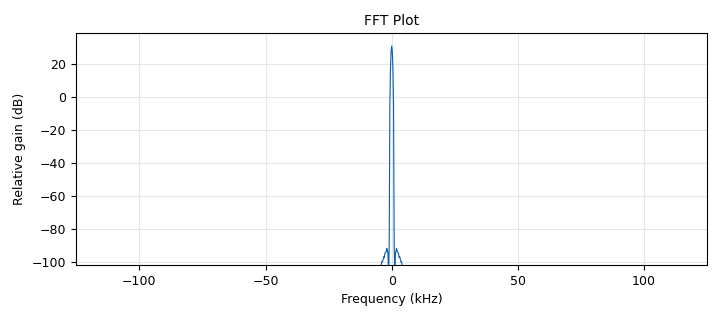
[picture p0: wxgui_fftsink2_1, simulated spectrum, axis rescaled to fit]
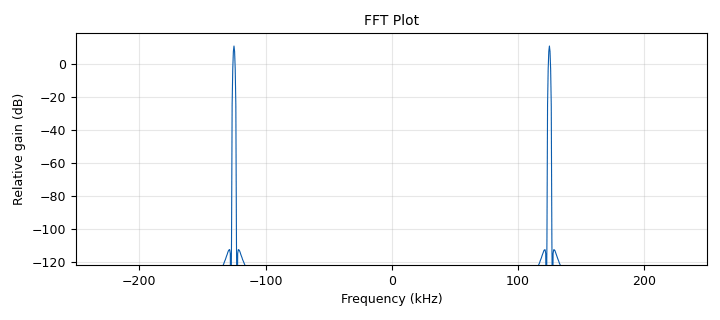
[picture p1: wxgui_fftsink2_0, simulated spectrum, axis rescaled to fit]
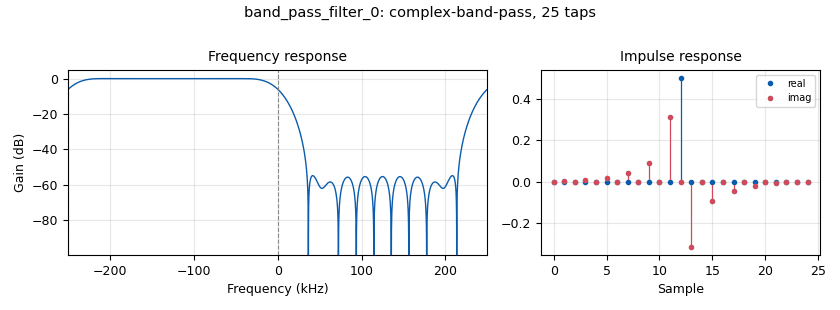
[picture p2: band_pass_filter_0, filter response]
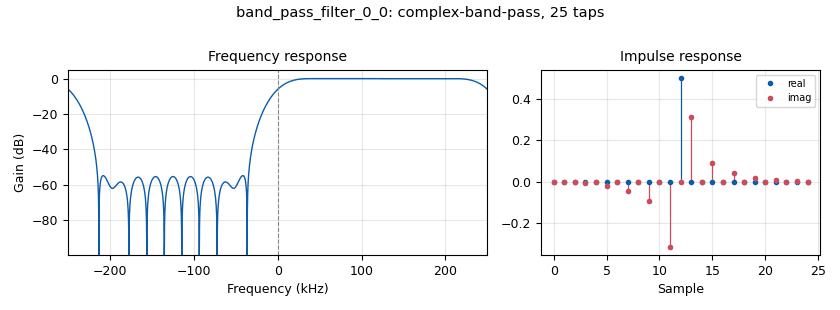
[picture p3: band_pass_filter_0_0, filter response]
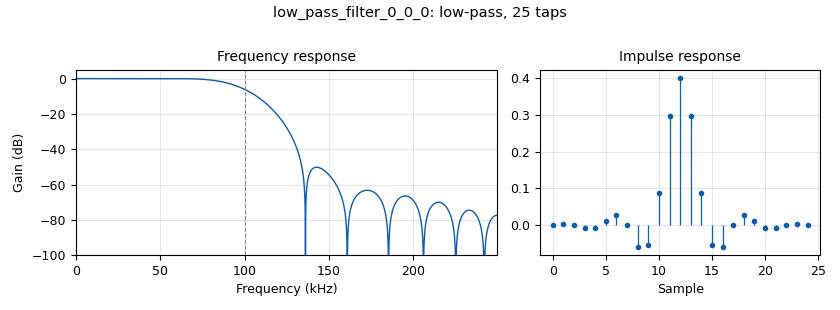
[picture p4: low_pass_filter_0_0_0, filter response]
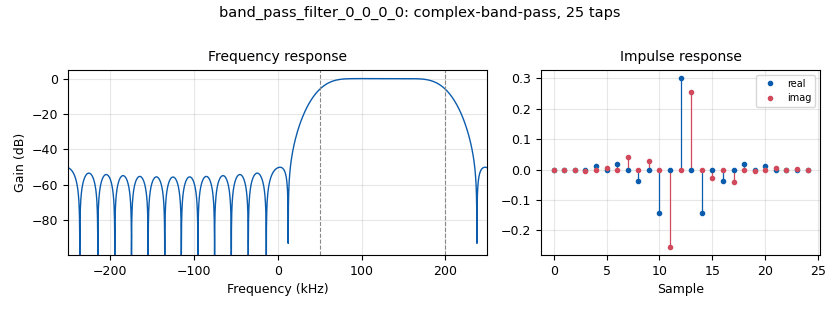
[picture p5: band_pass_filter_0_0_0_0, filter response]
<?xml version='1.0' encoding='utf-8'?>
<flow_graph>
<block>
<key>options</key>
<param><key>id</key><value>top_block</value></param>
<param><key>generate_options</key><value>wx_gui</value></param>
<param><key>category</key><value>Custom</value></param>
</block>
<block>
<key>variable</key>
<param><key>id</key><value>samp_rate</value></param>
<param><key>value</key><value>500000</value></param>
</block>
<block>
<key>analog_sig_source_x</key>
<param><key>id</key><value>analog_sig_source_x_0</value></param>
<param><key>type</key><value>complex</value></param>
<param><key>samp_rate</key><value>samp_rate/2</value></param>
<param><key>waveform</key><value>analog.GR_COS_WAVE</value></param>
<param><key>freq</key><value>f0</value></param>
<param><key>amp</key><value>1</value></param>
<param><key>offset</key><value>0</value></param>
</block>
<block>
<key>gr_throttle</key>
<param><key>id</key><value>gr_throttle_0</value></param>
<param><key>type</key><value>complex</value></param>
<param><key>samples_per_second</key><value>samp_rate/2</value></param>
<param><key>vlen</key><value>1</value></param>
</block>
<block>
<key>gr_throttle</key>
<param><key>id</key><value>gr_throttle_0_1</value></param>
<param><key>type</key><value>complex</value></param>
<param><key>samples_per_second</key><value>samp_rate/2</value></param>
<param><key>vlen</key><value>1</value></param>
</block>
<block>
<key>analog_sig_source_x</key>
<param><key>id</key><value>analog_sig_source_x_0_0</value></param>
<param><key>type</key><value>complex</value></param>
<param><key>samp_rate</key><value>samp_rate/2</value></param>
<param><key>waveform</key><value>analog.GR_COS_WAVE</value></param>
<param><key>freq</key><value>f1</value></param>
<param><key>amp</key><value>1</value></param>
<param><key>offset</key><value>0</value></param>
</block>
<block>
<key>freq_xlating_fir_filter_xxx</key>
<param><key>id</key><value>freq_xlating_fir_filter_xxx_0_0</value></param>
<param><key>type</key><value>ccc</value></param>
<param><key>decim</key><value>1</value></param>
<param><key>taps</key><value>10</value></param>
<param><key>center_freq</key><value>-samp_rate/4</value></param>
<param><key>samp_rate</key><value>samp_rate</value></param>
</block>
<block>
<key>freq_xlating_fir_filter_xxx</key>
<param><key>id</key><value>freq_xlating_fir_filter_xxx_0</value></param>
<param><key>type</key><value>ccc</value></param>
<param><key>decim</key><value>1</value></param>
<param><key>taps</key><value>10</value></param>
<param><key>center_freq</key><value>samp_rate/4</value></param>
<param><key>samp_rate</key><value>samp_rate</value></param>
</block>
<block>
<key>variable_slider</key>
<param><key>id</key><value>f0</value></param>
<param><key>label</key><value></value></param>
<param><key>value</key><value>0e3</value></param>
<param><key>min</key><value>-250e3</value></param>
<param><key>max</key><value>250e3</value></param>
<param><key>num_steps</key><value>100</value></param>
<param><key>style</key><value>wx.SL_HORIZONTAL</value></param>
<param><key>converver</key><value>float_converter</value></param>
</block>
<block>
<key>variable_slider</key>
<param><key>id</key><value>f1</value></param>
<param><key>label</key><value></value></param>
<param><key>value</key><value>0e3</value></param>
<param><key>min</key><value>-250e3</value></param>
<param><key>max</key><value>250e3</value></param>
<param><key>num_steps</key><value>100</value></param>
<param><key>style</key><value>wx.SL_HORIZONTAL</value></param>
<param><key>converver</key><value>float_converter</value></param>
</block>
<block>
<key>band_pass_filter</key>
<param><key>id</key><value>band_pass_filter_0</value></param>
<param><key>type</key><value>fir_filter_ccc</value></param>
<param><key>decim</key><value>1</value></param>
<param><key>gain</key><value>1</value></param>
<param><key>samp_rate</key><value>samp_rate</value></param>
<param><key>low_cutoff_freq</key><value>-samp_rate/2</value></param>
<param><key>high_cutoff_freq</key><value>0</value></param>
<param><key>width</key><value>tx_w</value></param>
<param><key>win</key><value>firdes.WIN_HAMMING</value></param>
</block>
<block>
<key>band_pass_filter</key>
<param><key>id</key><value>band_pass_filter_0_0</value></param>
<param><key>type</key><value>fir_filter_ccc</value></param>
<param><key>decim</key><value>1</value></param>
<param><key>gain</key><value>1</value></param>
<param><key>samp_rate</key><value>samp_rate</value></param>
<param><key>low_cutoff_freq</key><value>0</value></param>
<param><key>high_cutoff_freq</key><value>samp_rate/2</value></param>
<param><key>width</key><value>tx_w</value></param>
<param><key>win</key><value>firdes.WIN_HAMMING</value></param>
</block>
<block>
<key>variable_slider</key>
<param><key>id</key><value>tx_w</value></param>
<param><key>label</key><value></value></param>
<param><key>value</key><value>50e3</value></param>
<param><key>min</key><value>-250e3</value></param>
<param><key>max</key><value>250e3</value></param>
<param><key>num_steps</key><value>100</value></param>
<param><key>style</key><value>wx.SL_HORIZONTAL</value></param>
<param><key>converver</key><value>float_converter</value></param>
</block>
<block>
<key>variable_slider</key>
<param><key>id</key><value>rx_w</value></param>
<param><key>label</key><value></value></param>
<param><key>value</key><value>50e3</value></param>
<param><key>min</key><value>-250e3</value></param>
<param><key>max</key><value>250e3</value></param>
<param><key>num_steps</key><value>100</value></param>
<param><key>style</key><value>wx.SL_HORIZONTAL</value></param>
<param><key>converver</key><value>float_converter</value></param>
</block>
<block>
<key>variable_slider</key>
<param><key>id</key><value>guard_w</value></param>
<param><key>label</key><value></value></param>
<param><key>value</key><value>50e3</value></param>
<param><key>min</key><value>0</value></param>
<param><key>max</key><value>250e3</value></param>
<param><key>num_steps</key><value>100</value></param>
<param><key>style</key><value>wx.SL_HORIZONTAL</value></param>
<param><key>converver</key><value>float_converter</value></param>
</block>
<block>
<key>wxgui_fftsink2</key>
<param><key>id</key><value>wxgui_fftsink2_1</value></param>
<param><key>type</key><value>complex</value></param>
<param><key>title</key><value>FFT Plot</value></param>
<param><key>samp_rate</key><value>samp_rate/2</value></param>
<param><key>baseband_freq</key><value>0</value></param>
<param><key>y_per_div</key><value>10</value></param>
<param><key>y_divs</key><value>10</value></param>
<param><key>ref_level</key><value>0</value></param>
<param><key>ref_scale</key><value>2.0</value></param>
<param><key>fft_size</key><value>1024</value></param>
<param><key>fft_rate</key><value>15</value></param>
<param><key>peak_hold</key><value>False</value></param>
<param><key>average</key><value>False</value></param>
<param><key>avg_alpha</key><value>0</value></param>
<param><key>win</key><value>None</value></param>
<param><key>freqvar</key><value>None</value></param>
</block>
<block>
<key>variable_slider</key>
<param><key>id</key><value>gain</value></param>
<param><key>label</key><value></value></param>
<param><key>value</key><value>2</value></param>
<param><key>min</key><value>2</value></param>
<param><key>max</key><value>20</value></param>
<param><key>num_steps</key><value>18</value></param>
<param><key>style</key><value>wx.SL_HORIZONTAL</value></param>
<param><key>converver</key><value>int_converter</value></param>
</block>
<block>
<key>freq_xlating_fir_filter_xxx</key>
<param><key>id</key><value>freq_xlating_fir_filter_xxx_0_1</value></param>
<param><key>type</key><value>ccc</value></param>
<param><key>decim</key><value>1</value></param>
<param><key>taps</key><value>10</value></param>
<param><key>center_freq</key><value>samp_rate/4</value></param>
<param><key>samp_rate</key><value>samp_rate</value></param>
</block>
<block>
<key>freq_xlating_fir_filter_xxx</key>
<param><key>id</key><value>freq_xlating_fir_filter_xxx_0_1_0</value></param>
<param><key>type</key><value>ccc</value></param>
<param><key>decim</key><value>1</value></param>
<param><key>taps</key><value>10</value></param>
<param><key>center_freq</key><value>-samp_rate/4</value></param>
<param><key>samp_rate</key><value>samp_rate</value></param>
</block>
<block>
<key>low_pass_filter</key>
<param><key>id</key><value>low_pass_filter_0_0_0</value></param>
<param><key>type</key><value>fir_filter_ccf</value></param>
<param><key>decim</key><value>2</value></param>
<param><key>interp</key><value>2</value></param>
<param><key>gain</key><value>1</value></param>
<param><key>samp_rate</key><value>samp_rate</value></param>
<param><key>cutoff_freq</key><value>samp_rate/4-guard_w/2</value></param>
<param><key>width</key><value>rx_w</value></param>
<param><key>win</key><value>firdes.WIN_HAMMING</value></param>
</block>
<block>
<key>band_pass_filter</key>
<param><key>id</key><value>band_pass_filter_0_0_0_0</value></param>
<param><key>type</key><value>fir_filter_ccc</value></param>
<param><key>decim</key><value>1</value></param>
<param><key>gain</key><value>1</value></param>
<param><key>samp_rate</key><value>samp_rate</value></param>
<param><key>low_cutoff_freq</key><value>0+guard_w</value></param>
<param><key>high_cutoff_freq</key><value>samp_rate/2-guard_w</value></param>
<param><key>width</key><value>rx_w</value></param>
<param><key>win</key><value>firdes.WIN_HAMMING</value></param>
</block>
<block>
<key>band_pass_filter</key>
<param><key>id</key><value>band_pass_filter_0_0_0</value></param>
<param><key>type</key><value>fir_filter_ccc</value></param>
<param><key>decim</key><value>1</value></param>
<param><key>gain</key><value>1</value></param>
<param><key>samp_rate</key><value>samp_rate</value></param>
<param><key>low_cutoff_freq</key><value>-samp_rate/2+guard_w</value></param>
<param><key>high_cutoff_freq</key><value>0e3-guard_w</value></param>
<param><key>width</key><value>rx_w</value></param>
<param><key>win</key><value>firdes.WIN_HAMMING</value></param>
</block>
<block>
<key>low_pass_filter</key>
<param><key>id</key><value>low_pass_filter_0_0_0_1</value></param>
<param><key>type</key><value>fir_filter_ccf</value></param>
<param><key>decim</key><value>2</value></param>
<param><key>interp</key><value>2</value></param>
<param><key>gain</key><value>1</value></param>
<param><key>samp_rate</key><value>samp_rate</value></param>
<param><key>cutoff_freq</key><value>samp_rate/4-guard_w/2</value></param>
<param><key>width</key><value>rx_w</value></param>
<param><key>win</key><value>firdes.WIN_HAMMING</value></param>
</block>
<block>
<key>wxgui_fftsink2</key>
<param><key>id</key><value>wxgui_fftsink2_1_0</value></param>
<param><key>_enabled</key><value>False</value></param>
<param><key>type</key><value>complex</value></param>
<param><key>title</key><value>FFT Plot</value></param>
<param><key>samp_rate</key><value>samp_rate/2</value></param>
<param><key>baseband_freq</key><value>0</value></param>
<param><key>y_per_div</key><value>10</value></param>
<param><key>y_divs</key><value>10</value></param>
<param><key>ref_level</key><value>0</value></param>
<param><key>ref_scale</key><value>2.0</value></param>
<param><key>fft_size</key><value>1024</value></param>
<param><key>fft_rate</key><value>15</value></param>
<param><key>peak_hold</key><value>False</value></param>
<param><key>average</key><value>False</value></param>
<param><key>avg_alpha</key><value>0</value></param>
<param><key>win</key><value>None</value></param>
<param><key>freqvar</key><value>None</value></param>
</block>
<block>
<key>gr_null_sink</key>
<param><key>id</key><value>gr_null_sink_0</value></param>
<param><key>type</key><value>complex</value></param>
<param><key>vlen</key><value>1</value></param>
</block>
<block>
<key>wxgui_fftsink2</key>
<param><key>id</key><value>wxgui_fftsink2_0</value></param>
<param><key>type</key><value>complex</value></param>
<param><key>title</key><value>FFT Plot</value></param>
<param><key>samp_rate</key><value>samp_rate</value></param>
<param><key>baseband_freq</key><value>0</value></param>
<param><key>y_per_div</key><value>10</value></param>
<param><key>y_divs</key><value>10</value></param>
<param><key>ref_level</key><value>0</value></param>
<param><key>ref_scale</key><value>2.0</value></param>
<param><key>fft_size</key><value>1024</value></param>
<param><key>fft_rate</key><value>15</value></param>
<param><key>peak_hold</key><value>False</value></param>
<param><key>average</key><value>False</value></param>
<param><key>avg_alpha</key><value>0</value></param>
<param><key>win</key><value>None</value></param>
<param><key>freqvar</key><value>None</value></param>
</block>
<block>
<key>gr_add_xx</key>
<param><key>id</key><value>gr_add_xx_0</value></param>
<param><key>type</key><value>complex</value></param>
<param><key>num_inputs</key><value>2</value></param>
<param><key>vlen</key><value>1</value></param>
</block>
<block>
<key>low_pass_filter</key>
<param><key>id</key><value>low_pass_filter_0</value></param>
<param><key>type</key><value>interp_fir_filter_ccf</value></param>
<param><key>interp</key><value>2</value></param>
<param><key>gain</key><value>1</value></param>
<param><key>samp_rate</key><value>samp_rate</value></param>
<param><key>cutoff_freq</key><value>samp_rate/4</value></param>
<param><key>width</key><value>tx_w</value></param>
<param><key>win</key><value>firdes.WIN_HANN</value></param>
</block>
<block>
<key>low_pass_filter</key>
<param><key>id</key><value>low_pass_filter_0_0</value></param>
<param><key>type</key><value>interp_fir_filter_ccf</value></param>
<param><key>interp</key><value>2</value></param>
<param><key>gain</key><value>1</value></param>
<param><key>samp_rate</key><value>samp_rate</value></param>
<param><key>cutoff_freq</key><value>samp_rate/4</value></param>
<param><key>width</key><value>tx_w</value></param>
<param><key>win</key><value>firdes.WIN_HAMMING</value></param>
</block>
<connection><source_block_id>low_pass_filter_0</source_block_id><sink_block_id>freq_xlating_fir_filter_xxx_0</sink_block_id><source_key>0</source_key><sink_key>0</sink_key></connection>
<connection><source_block_id>freq_xlating_fir_filter_xxx_0</source_block_id><sink_block_id>band_pass_filter_0</sink_block_id><source_key>0</source_key><sink_key>0</sink_key></connection>
<connection><source_block_id>gr_throttle_0</source_block_id><sink_block_id>low_pass_filter_0</sink_block_id><source_key>0</source_key><sink_key>0</sink_key></connection>
<connection><source_block_id>low_pass_filter_0_0</source_block_id><sink_block_id>freq_xlating_fir_filter_xxx_0_0</sink_block_id><source_key>0</source_key><sink_key>0</sink_key></connection>
<connection><source_block_id>freq_xlating_fir_filter_xxx_0_0</source_block_id><sink_block_id>band_pass_filter_0_0</sink_block_id><source_key>0</source_key><sink_key>0</sink_key></connection>
<connection><source_block_id>band_pass_filter_0</source_block_id><sink_block_id>gr_add_xx_0</sink_block_id><source_key>0</source_key><sink_key>0</sink_key></connection>
<connection><source_block_id>band_pass_filter_0_0</source_block_id><sink_block_id>gr_add_xx_0</sink_block_id><source_key>0</source_key><sink_key>1</sink_key></connection>
<connection><source_block_id>freq_xlating_fir_filter_xxx_0_1</source_block_id><sink_block_id>low_pass_filter_0_0_0</sink_block_id><source_key>0</source_key><sink_key>0</sink_key></connection>
<connection><source_block_id>gr_throttle_0_1</source_block_id><sink_block_id>low_pass_filter_0_0</sink_block_id><source_key>0</source_key><sink_key>0</sink_key></connection>
<connection><source_block_id>analog_sig_source_x_0</source_block_id><sink_block_id>gr_throttle_0</sink_block_id><source_key>0</source_key><sink_key>0</sink_key></connection>
<connection><source_block_id>analog_sig_source_x_0_0</source_block_id><sink_block_id>gr_throttle_0_1</sink_block_id><source_key>0</source_key><sink_key>0</sink_key></connection>
<connection><source_block_id>low_pass_filter_0_0_0</source_block_id><sink_block_id>wxgui_fftsink2_1</sink_block_id><source_key>0</source_key><sink_key>0</sink_key></connection>
<connection><source_block_id>freq_xlating_fir_filter_xxx_0_1_0</source_block_id><sink_block_id>low_pass_filter_0_0_0_1</sink_block_id><source_key>0</source_key><sink_key>0</sink_key></connection>
<connection><source_block_id>low_pass_filter_0_0_0_1</source_block_id><sink_block_id>wxgui_fftsink2_1_0</sink_block_id><source_key>0</source_key><sink_key>0</sink_key></connection>
<connection><source_block_id>band_pass_filter_0_0_0</source_block_id><sink_block_id>freq_xlating_fir_filter_xxx_0_1_0</sink_block_id><source_key>0</source_key><sink_key>0</sink_key></connection>
<connection><source_block_id>band_pass_filter_0_0_0_0</source_block_id><sink_block_id>freq_xlating_fir_filter_xxx_0_1</sink_block_id><source_key>0</source_key><sink_key>0</sink_key></connection>
<connection><source_block_id>gr_add_xx_0</source_block_id><sink_block_id>band_pass_filter_0_0_0</sink_block_id><source_key>0</source_key><sink_key>0</sink_key></connection>
<connection><source_block_id>low_pass_filter_0_0_0_1</source_block_id><sink_block_id>gr_null_sink_0</sink_block_id><source_key>0</source_key><sink_key>0</sink_key></connection>
<connection><source_block_id>gr_add_xx_0</source_block_id><sink_block_id>wxgui_fftsink2_0</sink_block_id><source_key>0</source_key><sink_key>0</sink_key></connection>
<connection><source_block_id>gr_add_xx_0</source_block_id><sink_block_id>band_pass_filter_0_0_0_0</sink_block_id><source_key>0</source_key><sink_key>0</sink_key></connection>
</flow_graph>
